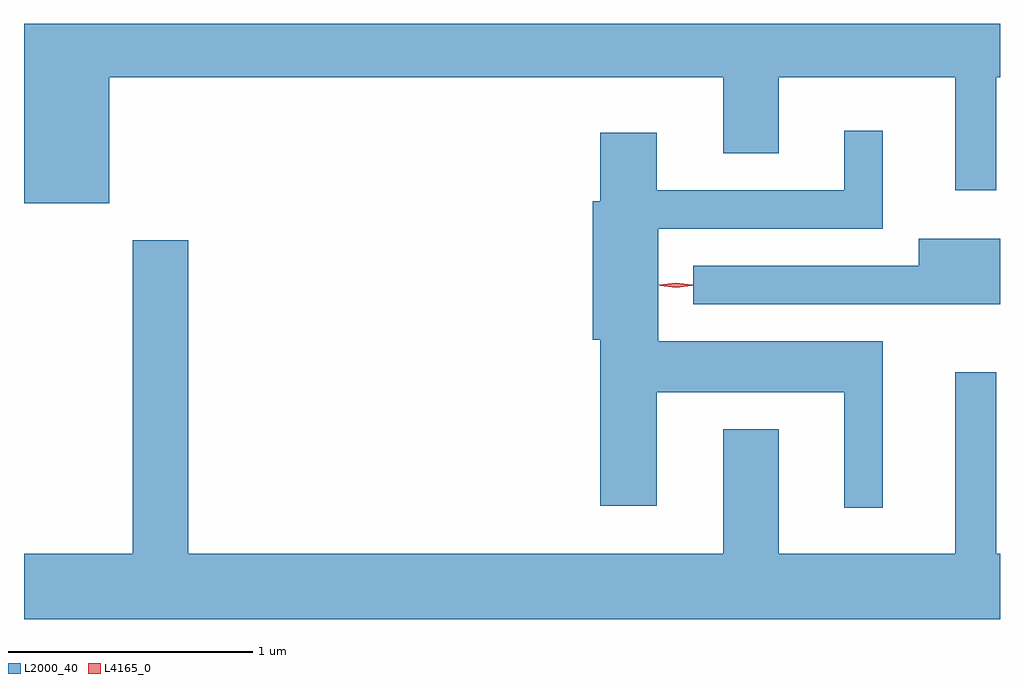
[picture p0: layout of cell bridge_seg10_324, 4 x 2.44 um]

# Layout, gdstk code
import gdstk
lib = gdstk.Library(unit=1e-6, precision=1e-09)
def P(c, l, *ps):  # polygons
    for p in ps: c.add(gdstk.Polygon(p, *l))
L2000_40 = (2000, 40)
L4165_0 = (4165, 0)

bridge_seg10_324 = lib.new_cell('bridge_seg10_324')
P(bridge_seg10_324, L2000_40, [(1327.724,2169.416),(1330.241,2169.416),(1330.241,2169.106),(1330.469,2169.106),(1330.469,2169.416),(1331.191,2169.416),(1331.191,2168.953),(1331.359,2168.953),(1331.359,2169.416),(1331.375,2169.416),(1331.375,2169.635),(1327.375,2169.635),(1327.375,2168.901),(1327.724,2168.901)],
  [(1330.894,2168.334),(1329.974,2168.334),(1329.974,2168.796),(1330.894,2168.796),(1330.894,2169.198),(1330.736,2169.198),(1330.736,2168.954),(1329.969,2168.954),(1329.969,2169.189),(1329.736,2169.189),(1329.736,2168.909),(1329.706,2168.909),(1329.706,2168.341),(1329.736,2168.341),(1329.736,2167.661),(1329.969,2167.661),(1329.969,2168.126),(1330.736,2168.126),(1330.736,2167.653),(1330.894,2167.653)],
  [(1331.375,2168.754),(1331.041,2168.754),(1331.041,2168.644),(1330.118,2168.644),(1330.118,2168.486),(1331.375,2168.486)],
  [(1331.375,2167.464),(1331.359,2167.464),(1331.359,2168.208),(1331.191,2168.208),(1331.191,2167.464),(1330.469,2167.464),(1330.469,2167.974),(1330.241,2167.974),(1330.241,2167.464),(1328.049,2167.464),(1328.049,2168.749),(1327.821,2168.749),(1327.821,2167.464),(1327.375,2167.464),(1327.375,2167.196),(1331.375,2167.196)])
P(bridge_seg10_324, L4165_0, [(1330.047,2168.555),(1329.978,2168.565),(1329.978,2168.566),(1329.978,2168.566),(1330.047,2168.575),(1330.116,2168.566),(1330.116,2168.565),(1330.116,2168.564)],
  [(1330.048,2168.553),(1329.983,2168.563),(1329.983,2168.564),(1329.983,2168.564),(1330.048,2168.573),(1330.112,2168.564),(1330.113,2168.564),(1330.112,2168.563)])

lib.write_gds('bridge_seg10_324.gds')
